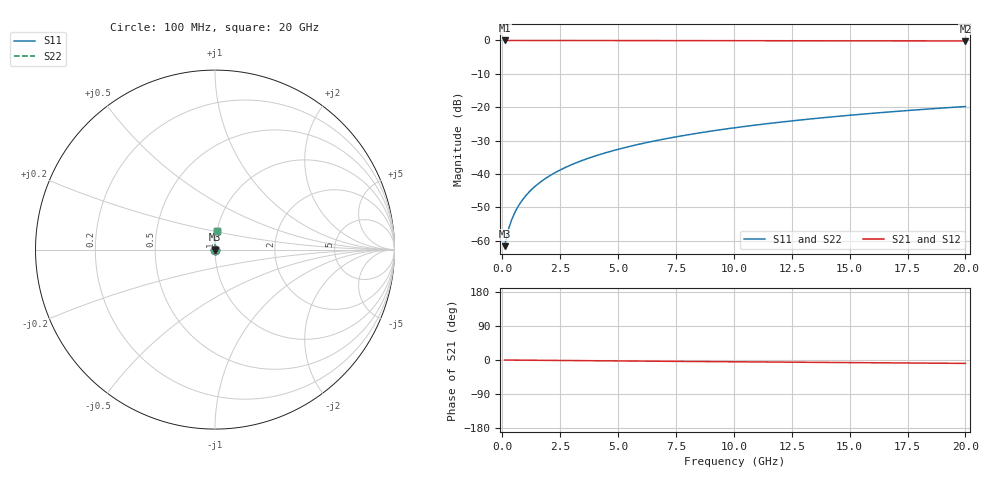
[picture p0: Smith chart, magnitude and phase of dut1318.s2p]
! Touchstone file exported from HFSS 2024.1.0
!  File:  C:/UserFiles/LocalFiles/RDL_TSV_Batchsim/temp_RDL_bottom_1318_1780368860.aedt
!  Generated:  10:56:38 AM Jun  2, 2026
!  Design:  RDL_bottom
!  Project:  temp_RDL_bottom_1318_1780368860
!  Setup:  Setup1
!  Solution:  Sweep
! Variables:
!  dtsv = 10.80580581um
!  hbump = 3um
!  htsv = 66.49um
!  ldown = 102.97um
!  lrdl = 100um
!  p = 40
!  p1 = 44.13um
!  rhole = 1um
!  t = 450um
!  tdown = 3.79um
!  trdl = 3.915915916um
!  wdown = 21.08um
!  wrdl = 20um
# GHz S MA R 50.000000
! Terminal data exported
! Port[1] = RDL1_T1
! Port[2] = RDL1_T2
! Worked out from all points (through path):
!   200 points, 100 MHz to 20 GHz, reference 50 ohm
!   highest |S21| = -0.01 dB at 100 MHz (marker M1); lowest = -0.2 dB at 20 GHz (marker M2)
!   group delay of S21, straight-line fit = 1.23 ps
!   lowest |S11| = -61.6 dB at 100 MHz (marker M3), VSWR 1.00, Z = 50.1 + j0.0499 ohm
!   |S11| at or under -10 dB: start of sweep to end of sweep
!   |S22| runs from -61.6 to -19.8 dB; largest |S21 - S12| = 3.1e-15
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0.1  0.0008303 36.9  0.9993 -0.1  0.9993 -0.1  0.0008303 36.9
! Gamma 0 0 0 0
! Port Impedance 50 0 50 0
0.2  0.0012 54.8  0.9993 -0.1  0.9993 -0.1  0.0012 54.8
0.3  0.001615 63.6  0.9993 -0.2  0.9993 -0.2  0.001615 63.6
0.4  0.00204 68.7  0.9992 -0.2  0.9992 -0.2  0.00204 68.7
0.5  0.00247 72.2  0.9992 -0.3  0.9992 -0.3  0.00247 72.2
0.6  0.002903 74.7  0.9992 -0.3  0.9992 -0.3  0.002903 74.7
0.8  0.003779 78.3  0.9991 -0.4  0.9991 -0.4  0.003779 78.3
1.1  0.005112 81.5  0.999 -0.6  0.999 -0.6  0.005112 81.5
1.5  0.006913 83.9  0.9989 -0.8  0.9989 -0.8  0.006913 83.9
1.8  0.008277 85.2  0.9988 -0.9  0.9988 -0.9  0.008277 85.2
2.1  0.009651 86.1  0.9986 -1.1  0.9986 -1.1  0.009651 86.1
2.7  0.01243 87.3  0.9982 -1.4  0.9982 -1.4  0.01243 87.3
3.5  0.01619 88.4  0.9977 -1.7  0.9977 -1.7  0.01619 88.4
4.2  0.01953 89.0  0.9971 -2.1  0.9971 -2.1  0.01953 89.0
5  0.02342 89.5  0.9963 -2.5  0.9963 -2.5  0.02342 89.5
5.9  0.02789 89.8  0.9955 -2.9  0.9955 -2.9  0.02788 89.8
6.8  0.03243 89.9  0.9946 -3.3  0.9946 -3.3  0.03243 89.9
8.4  0.04067 89.8  0.9929 -4.0  0.9929 -4.0  0.04067 89.8
10.1  0.0496 89.4  0.9912 -4.8  0.9912 -4.8  0.0496 89.4
13.4  0.06721 88.0  0.9881 -6.2  0.9881 -6.2  0.06721 88.0
16.7  0.08491 86.4  0.9851 -7.6  0.9851 -7.6  0.08491 86.4
20  0.1025 84.7  0.9822 -9.0  0.9822 -9.0  0.1025 84.7
